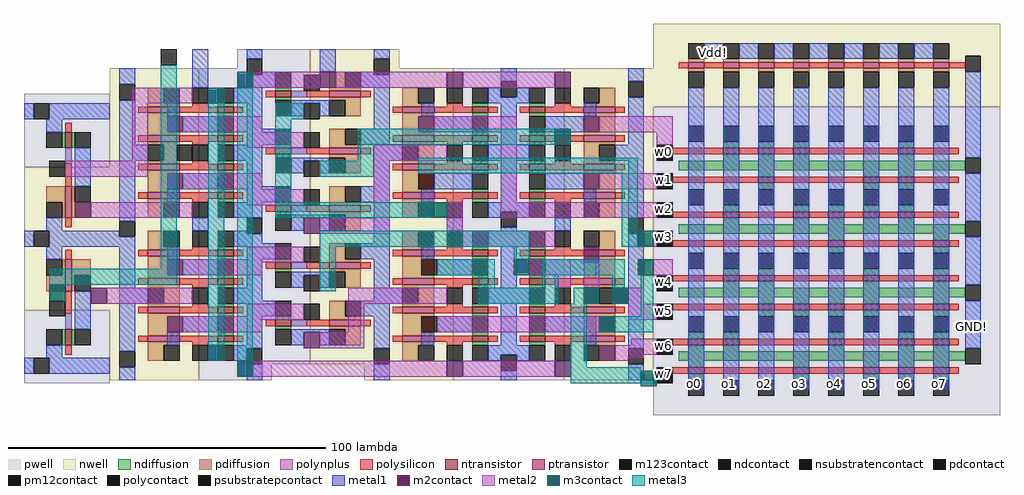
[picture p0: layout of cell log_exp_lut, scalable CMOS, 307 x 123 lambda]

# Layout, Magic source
magic
tech scmos
<< nwell >>
rect -18 76 91 102
<< pwell >>
rect -18 -21 91 76
<< ptransistor >>
rect -7 88 -2 90
rect 4 88 9 90
rect 15 88 20 90
rect 26 88 31 90
rect 37 88 42 90
rect 48 88 53 90
rect 59 88 64 90
rect 70 88 75 90
<< ndiffusion >>
rect 75 56 80 59
rect 75 36 80 39
rect 75 16 80 19
rect 75 -4 80 -1
<< pdiffusion >>
rect -7 90 -2 91
rect 4 90 9 91
rect 15 90 20 91
rect 26 90 31 91
rect 37 90 42 91
rect 48 90 53 91
rect 59 90 64 91
rect 70 90 75 91
rect -7 87 -2 88
rect 4 87 9 88
rect 15 87 20 88
rect 26 87 31 88
rect 37 87 42 88
rect 48 87 53 88
rect 59 87 64 88
rect 70 87 75 88
<< ndcontact >>
rect 80 55 85 60
rect 80 35 85 40
rect 80 15 85 20
rect 80 -5 85 0
<< pdcontact >>
rect -7 91 -2 96
rect 4 91 9 96
rect 15 91 20 96
rect 26 91 31 96
rect 37 91 42 96
rect 48 91 53 96
rect 59 91 64 96
rect 70 91 75 96
rect -7 82 -2 87
rect 4 82 9 87
rect 15 82 20 87
rect 26 82 31 87
rect 37 82 42 87
rect 48 82 53 87
rect 59 82 64 87
rect 70 82 75 87
<< polysilicon >>
rect -10 88 -7 90
rect -2 88 4 90
rect 9 88 15 90
rect 20 88 26 90
rect 31 88 37 90
rect 42 88 48 90
rect 53 88 59 90
rect 64 88 70 90
rect 75 88 80 90
rect -12 61 -10 63
rect -12 52 -10 54
rect -12 41 -10 43
rect -12 32 -10 34
rect -12 21 -10 23
rect -12 12 -10 14
rect -12 1 -10 3
rect -12 -8 -10 -6
<< polycontact >>
rect 80 87 85 92
rect -17 59 -12 64
rect -17 50 -12 55
rect -17 41 -12 46
rect -17 32 -12 37
rect -17 18 -12 23
rect -17 9 -12 14
rect -17 -2 -12 3
rect -17 -11 -12 -6
<< metal1 >>
rect -2 91 4 96
rect 9 91 15 96
rect 20 91 26 96
rect 31 91 37 96
rect 42 91 48 96
rect 53 91 59 96
rect 64 91 70 96
rect -7 -13 -2 82
rect 4 -13 9 82
rect 15 -13 20 82
rect 26 -13 31 82
rect 37 -13 42 82
rect 48 -13 53 82
rect 59 -13 64 82
rect 70 -13 75 82
rect 80 60 85 87
rect 80 40 85 55
rect 80 20 85 35
rect 80 0 85 15
use rom_0bit  rom_0bit_77_5
transform -1 0 2 0 -1 0
box 1 1 12 15
use rom_0bit  rom_0bit_77_0
transform -1 0 2 0 1 -5
box 1 1 12 15
use rom_0bit  rom_0bit_66_0
transform -1 0 13 0 1 -5
box 1 1 12 15
use rom_1bit  rom_1bit_55_0
transform -1 0 24 0 1 -5
box 1 1 12 15
use rom_1bit  rom_1bit_55_5
transform -1 0 24 0 -1 0
box 1 1 12 15
use rom_1bit  rom_1bit_66_5
transform -1 0 13 0 -1 0
box 1 1 12 15
use rom_0bit  rom_0bit_33_0
transform -1 0 46 0 1 -5
box 1 1 12 15
use rom_0bit  rom_0bit_44_5
transform -1 0 35 0 -1 0
box 1 1 12 15
use rom_1bit  rom_1bit_44_0
transform -1 0 35 0 1 -5
box 1 1 12 15
use rom_1bit  rom_1bit_33_5
transform -1 0 46 0 -1 0
box 1 1 12 15
use rom_0bit  rom_0bit_22_5
transform -1 0 57 0 -1 0
box 1 1 12 15
use rom_1bit  rom_1bit_22_0
transform -1 0 57 0 1 -5
box 1 1 12 15
use rom_0bit  rom_0bit_0_5
transform -1 0 79 0 -1 0
box 1 1 12 15
use rom_0bit  rom_0bit_11_5
transform -1 0 68 0 -1 0
box 1 1 12 15
use rom_0bit  rom_0bit_0_0
transform -1 0 79 0 1 -5
box 1 1 12 15
use rom_0bit  rom_0bit_11_0
transform -1 0 68 0 1 -5
box 1 1 12 15
use rom_1bit  rom_1bit_77_23
transform -1 0 2 0 -1 20
box 1 1 12 15
use rom_1bit  rom_1bit_77_18
transform -1 0 2 0 1 15
box 1 1 12 15
use rom_0bit  rom_0bit_55_18
transform -1 0 24 0 1 15
box 1 1 12 15
use rom_0bit  rom_0bit_66_18
transform -1 0 13 0 1 15
box 1 1 12 15
use rom_0bit  rom_0bit_55_23
transform -1 0 24 0 -1 20
box 1 1 12 15
use rom_1bit  rom_1bit_66_23
transform -1 0 13 0 -1 20
box 1 1 12 15
use rom_0bit  rom_0bit_44_23
transform -1 0 35 0 -1 20
box 1 1 12 15
use rom_0bit  rom_0bit_33_23
transform -1 0 46 0 -1 20
box 1 1 12 15
use rom_1bit  rom_1bit_44_18
transform -1 0 35 0 1 15
box 1 1 12 15
use rom_1bit  rom_1bit_33_18
transform -1 0 46 0 1 15
box 1 1 12 15
use rom_0bit  rom_0bit_22_18
transform -1 0 57 0 1 15
box 1 1 12 15
use rom_0bit  rom_0bit_22_23
transform -1 0 57 0 -1 20
box 1 1 12 15
use rom_0bit  rom_0bit_0_18
transform -1 0 79 0 1 15
box 1 1 12 15
use rom_0bit  rom_0bit_0_23
transform -1 0 79 0 -1 20
box 1 1 12 15
use rom_1bit  rom_1bit_11_18
transform -1 0 68 0 1 15
box 1 1 12 15
use rom_1bit  rom_1bit_11_23
transform -1 0 68 0 -1 20
box 1 1 12 15
use rom_1bit  rom_1bit_77_41
transform -1 0 2 0 -1 40
box 1 1 12 15
use rom_1bit  rom_1bit_77_36
transform -1 0 2 0 1 35
box 1 1 12 15
use rom_0bit  rom_0bit_66_36
transform -1 0 13 0 1 35
box 1 1 12 15
use rom_1bit  rom_1bit_55_36
transform -1 0 24 0 1 35
box 1 1 12 15
use rom_1bit  rom_1bit_55_41
transform -1 0 24 0 -1 40
box 1 1 12 15
use rom_1bit  rom_1bit_66_41
transform -1 0 13 0 -1 40
box 1 1 12 15
use rom_0bit  rom_0bit_44_36
transform -1 0 35 0 1 35
box 1 1 12 15
use rom_0bit  rom_0bit_33_36
transform -1 0 46 0 1 35
box 1 1 12 15
use rom_0bit  rom_0bit_33_41
transform -1 0 46 0 -1 40
box 1 1 12 15
use rom_1bit  rom_1bit_44_41
transform -1 0 35 0 -1 40
box 1 1 12 15
use rom_0bit  rom_0bit_22_36
transform -1 0 57 0 1 35
box 1 1 12 15
use rom_1bit  rom_1bit_22_41
transform -1 0 57 0 -1 40
box 1 1 12 15
use rom_0bit  rom_0bit_11_36
transform -1 0 68 0 1 35
box 1 1 12 15
use rom_0bit  rom_0bit_0_41
transform -1 0 79 0 -1 40
box 1 1 12 15
use rom_1bit  rom_1bit_0_36
transform -1 0 79 0 1 35
box 1 1 12 15
use rom_1bit  rom_1bit_11_41
transform -1 0 68 0 -1 40
box 1 1 12 15
use rom_1bit  rom_1bit_77_59
transform -1 0 2 0 -1 60
box 1 1 12 15
use rom_1bit  rom_1bit_77_54
transform -1 0 2 0 1 55
box 1 1 12 15
use rom_0bit  rom_0bit_55_54
transform -1 0 24 0 1 55
box 1 1 12 15
use rom_0bit  rom_0bit_66_54
transform -1 0 13 0 1 55
box 1 1 12 15
use rom_0bit  rom_0bit_55_59
transform -1 0 24 0 -1 60
box 1 1 12 15
use rom_1bit  rom_1bit_66_59
transform -1 0 13 0 -1 60
box 1 1 12 15
use rom_0bit  rom_0bit_44_54
transform -1 0 35 0 1 55
box 1 1 12 15
use rom_1bit  rom_1bit_33_54
transform -1 0 46 0 1 55
box 1 1 12 15
use rom_1bit  rom_1bit_44_59
transform -1 0 35 0 -1 60
box 1 1 12 15
use rom_1bit  rom_1bit_33_59
transform -1 0 46 0 -1 60
box 1 1 12 15
use rom_0bit  rom_0bit_22_59
transform -1 0 57 0 -1 60
box 1 1 12 15
use rom_1bit  rom_1bit_22_54
transform -1 0 57 0 1 55
box 1 1 12 15
use rom_0bit  rom_0bit_11_59
transform -1 0 68 0 -1 60
box 1 1 12 15
use rom_0bit  rom_0bit_11_54
transform -1 0 68 0 1 55
box 1 1 12 15
use rom_1bit  rom_1bit_0_59
transform -1 0 79 0 -1 60
box 1 1 12 15
use rom_1bit  rom_1bit_0_54
transform -1 0 79 0 1 55
box 1 1 12 15
use 3to8_decoder  3to8_decoder_0
transform 1 0 -113 0 1 37
box -103 -49 101 57
<< labels >>
rlabel polycontact -15 62 -15 62 1 w0
rlabel polycontact -15 53 -15 53 1 w1
rlabel polycontact -15 44 -15 44 1 w2
rlabel polycontact -15 35 -15 35 1 w3
rlabel polycontact -15 -8 -15 -8 1 w7
rlabel polycontact -15 1 -15 1 1 w6
rlabel polycontact -15 12 -15 12 1 w5
rlabel polycontact -15 21 -15 21 1 w4
flabel metal1 -5 -11 -5 -11 1 FreeSans 24 0 0 0 o0
flabel metal1 6 -11 6 -11 1 FreeSans 24 0 0 0 o1
flabel metal1 17 -11 17 -11 1 FreeSans 24 0 0 0 o2
flabel metal1 28 -11 28 -11 1 FreeSans 24 0 0 0 o3
flabel metal1 39 -11 39 -11 1 FreeSans 24 0 0 0 o4
flabel metal1 50 -11 50 -11 1 FreeSans 24 0 0 0 o5
flabel metal1 61 -11 61 -11 1 FreeSans 24 0 0 0 o6
flabel metal1 72 -11 72 -11 1 FreeSans 24 0 0 0 o7
flabel metal1 1 93 1 93 5 FreeSans 24 0 0 0 Vdd!
flabel metal1 82 7 82 7 1 FreeSans 24 0 0 0 GND!
<< end >>

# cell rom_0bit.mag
magic
tech scmos
<< ntransistor >>
rect 4 6 9 8
<< ndiffusion >>
rect 4 8 9 10
rect 4 4 9 6
rect 1 1 12 4
<< ndcontact >>
rect 4 10 9 15
<< polysilicon >>
rect 1 6 4 8
rect 9 6 12 8
<< metal1 >>
rect 4 1 9 10
<< labels >>
flabel space 2 5 3 6 3 FreeSans 24 0 0 0 0
<< end >>

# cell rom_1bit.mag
magic
tech scmos
<< ndiffusion >>
rect 1 1 12 4
<< ndcontact >>
rect 4 10 9 15
<< polysilicon >>
rect 1 6 12 8
<< metal1 >>
rect 4 1 9 10
<< labels >>
flabel space 2 5 3 6 3 FreeSans 24 0 0 0 1
<< end >>

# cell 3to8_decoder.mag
magic
tech scmos
<< nwell >>
rect -13 51 15 57
rect -76 20 -48 51
rect -103 -25 -48 20
rect -76 -47 -48 -25
rect -13 -42 32 51
rect 4 -47 32 -42
rect 67 -47 95 51
<< pwell >>
rect -36 51 -13 57
rect -103 20 -76 43
rect -103 -48 -76 -25
rect -48 -42 -13 51
rect -48 -47 -25 -42
rect 32 -47 67 51
<< ntransistor >>
rect -24 42 -19 44
rect -42 37 -37 39
rect -90 26 -88 31
rect 38 37 43 39
rect 56 37 61 39
rect -42 28 -37 30
rect 38 28 43 30
rect 56 28 61 30
rect -24 24 -19 26
rect -42 19 -37 21
rect 38 19 43 21
rect 56 19 61 21
rect -42 10 -37 12
rect 38 10 43 12
rect 56 10 61 12
rect -24 6 -19 8
rect -42 -8 -37 -6
rect 38 -8 43 -6
rect 56 -8 61 -6
rect -24 -12 -19 -10
rect -42 -17 -37 -15
rect 38 -17 43 -15
rect 56 -17 61 -15
rect -42 -26 -37 -24
rect -90 -36 -88 -31
rect 38 -26 43 -24
rect 56 -26 61 -24
rect -24 -30 -19 -28
rect -42 -35 -37 -33
rect 38 -35 43 -33
rect 56 -35 61 -33
<< ptransistor >>
rect -7 42 3 44
rect -64 37 -54 39
rect 16 37 26 39
rect 73 37 83 39
rect -64 28 -54 30
rect 16 28 26 30
rect 73 28 83 30
rect -7 24 3 26
rect -64 19 -54 21
rect -90 4 -88 14
rect 16 19 26 21
rect 73 19 83 21
rect -64 10 -54 12
rect 16 10 26 12
rect 73 10 83 12
rect -7 6 3 8
rect -64 -8 -54 -6
rect -90 -19 -88 -9
rect 16 -8 26 -6
rect 73 -8 83 -6
rect -7 -12 3 -10
rect -64 -17 -54 -15
rect 16 -17 26 -15
rect 73 -17 83 -15
rect -64 -26 -54 -24
rect 16 -26 26 -24
rect 73 -26 83 -24
rect -7 -30 3 -28
rect -64 -35 -54 -33
rect 16 -35 26 -33
rect 73 -35 83 -33
<< ndiffusion >>
rect -24 44 -19 45
rect -42 39 -37 40
rect -24 41 -19 42
rect -91 26 -90 31
rect -88 26 -87 31
rect -42 36 -37 37
rect 38 39 43 40
rect 56 39 61 40
rect -42 30 -37 31
rect -42 27 -37 28
rect -24 26 -19 27
rect 38 36 43 37
rect 38 30 43 31
rect 56 36 61 37
rect 56 30 61 31
rect -42 21 -37 22
rect -24 23 -19 24
rect -42 18 -37 19
rect 38 27 43 28
rect 38 21 43 22
rect 56 27 61 28
rect 56 21 61 22
rect -42 12 -37 13
rect -42 9 -37 10
rect -24 8 -19 9
rect 38 18 43 19
rect 38 12 43 13
rect 56 18 61 19
rect 56 12 61 13
rect -24 5 -19 6
rect 38 9 43 10
rect 56 9 61 10
rect -42 -6 -37 -5
rect -42 -9 -37 -8
rect -24 -10 -19 -9
rect 38 -6 43 -5
rect 56 -6 61 -5
rect -42 -15 -37 -14
rect -24 -13 -19 -12
rect -42 -18 -37 -17
rect 38 -9 43 -8
rect 38 -15 43 -14
rect 56 -9 61 -8
rect 56 -15 61 -14
rect -42 -24 -37 -23
rect -91 -36 -90 -31
rect -88 -36 -87 -31
rect -42 -27 -37 -26
rect -24 -28 -19 -27
rect 38 -18 43 -17
rect 38 -24 43 -23
rect 56 -18 61 -17
rect 56 -24 61 -23
rect -42 -33 -37 -32
rect -24 -31 -19 -30
rect -42 -36 -37 -35
rect 38 -27 43 -26
rect 38 -33 43 -32
rect 56 -27 61 -26
rect 56 -33 61 -32
rect 38 -36 43 -35
rect 56 -36 61 -35
<< pdiffusion >>
rect -64 40 -59 45
rect -64 39 -54 40
rect -7 45 -2 50
rect -7 44 3 45
rect -64 30 -54 37
rect -7 41 3 42
rect -2 36 3 41
rect 16 40 21 45
rect 16 39 26 40
rect 78 40 83 45
rect 73 39 83 40
rect -64 27 -54 28
rect -59 22 -54 27
rect -64 21 -54 22
rect -7 27 -2 32
rect 16 30 26 37
rect 73 30 83 37
rect -7 26 3 27
rect 16 27 26 28
rect -96 9 -90 14
rect -91 4 -90 9
rect -88 9 -87 14
rect -64 12 -54 19
rect -7 23 3 24
rect -2 18 3 23
rect 21 22 26 27
rect 16 21 26 22
rect 73 27 83 28
rect 73 22 78 27
rect 73 21 83 22
rect -88 4 -82 9
rect -64 9 -54 10
rect -64 4 -59 9
rect -7 9 -2 14
rect 16 12 26 19
rect 73 12 83 19
rect -7 8 3 9
rect 16 9 26 10
rect -64 -5 -59 0
rect -64 -6 -54 -5
rect -7 5 3 6
rect -2 0 3 5
rect 16 4 21 9
rect 73 9 83 10
rect 78 4 83 9
rect -91 -14 -90 -9
rect -96 -19 -90 -14
rect -88 -14 -82 -9
rect -88 -19 -87 -14
rect -64 -15 -54 -8
rect -7 -9 -2 -4
rect 16 -5 21 0
rect 16 -6 26 -5
rect 78 -5 83 0
rect 73 -6 83 -5
rect -7 -10 3 -9
rect -64 -18 -54 -17
rect -59 -23 -54 -18
rect -64 -24 -54 -23
rect -7 -13 3 -12
rect -2 -18 3 -13
rect 16 -15 26 -8
rect 73 -15 83 -8
rect 16 -18 26 -17
rect -64 -33 -54 -26
rect -7 -27 -2 -22
rect 21 -23 26 -18
rect 16 -24 26 -23
rect 73 -18 83 -17
rect 73 -23 78 -18
rect 73 -24 83 -23
rect -7 -28 3 -27
rect -64 -36 -54 -35
rect -64 -41 -59 -36
rect -7 -31 3 -30
rect -2 -36 3 -31
rect 16 -33 26 -26
rect 73 -33 83 -26
rect 16 -36 26 -35
rect 16 -41 21 -36
rect 73 -36 83 -35
rect 78 -41 83 -36
<< ndcontact >>
rect -24 45 -19 50
rect -42 40 -37 45
rect -96 26 -91 31
rect -87 26 -82 31
rect -24 36 -19 41
rect 38 40 43 45
rect 56 40 61 45
rect -42 31 -37 36
rect -42 22 -37 27
rect -24 27 -19 32
rect 38 31 43 36
rect 56 31 61 36
rect -24 18 -19 23
rect 38 22 43 27
rect 56 22 61 27
rect -42 13 -37 18
rect -42 4 -37 9
rect -24 9 -19 14
rect 38 13 43 18
rect 56 13 61 18
rect -42 -5 -37 0
rect -24 0 -19 5
rect 38 4 43 9
rect 56 4 61 9
rect -42 -14 -37 -9
rect -24 -9 -19 -4
rect 38 -5 43 0
rect 56 -5 61 0
rect -24 -18 -19 -13
rect 38 -14 43 -9
rect 56 -14 61 -9
rect -42 -23 -37 -18
rect -96 -36 -91 -31
rect -87 -36 -82 -31
rect -42 -32 -37 -27
rect -24 -27 -19 -22
rect 38 -23 43 -18
rect 56 -23 61 -18
rect -24 -36 -19 -31
rect 38 -32 43 -27
rect 56 -32 61 -27
rect -42 -41 -37 -36
rect 38 -41 43 -36
rect 56 -41 61 -36
<< pdcontact >>
rect -59 40 -54 45
rect -2 45 3 50
rect -7 36 -2 41
rect 21 40 26 45
rect 73 40 78 45
rect -64 22 -59 27
rect -2 27 3 32
rect -96 4 -91 9
rect -87 9 -82 14
rect -7 18 -2 23
rect 16 22 21 27
rect 78 22 83 27
rect -59 4 -54 9
rect -2 9 3 14
rect -59 -5 -54 0
rect -7 0 -2 5
rect 21 4 26 9
rect 73 4 78 9
rect -96 -14 -91 -9
rect -87 -19 -82 -14
rect -2 -9 3 -4
rect 21 -5 26 0
rect 73 -5 78 0
rect -64 -23 -59 -18
rect -7 -18 -2 -13
rect -2 -27 3 -22
rect 16 -23 21 -18
rect 78 -23 83 -18
rect -59 -41 -54 -36
rect -7 -36 -2 -31
rect 21 -41 26 -36
rect 73 -41 78 -36
<< psubstratepcontact >>
rect -33 49 -28 54
rect -100 35 -95 40
rect 47 42 52 47
rect -33 -1 -28 4
rect 47 1 52 6
rect -100 -45 -95 -40
rect -33 -42 -28 -37
rect 47 -44 52 -39
<< nsubstratencontact >>
rect -73 41 -68 46
rect 7 49 12 54
rect 87 42 92 47
rect -100 -5 -95 0
rect -73 -2 -68 3
rect 87 -1 92 4
rect -73 -43 -68 -38
rect 7 -42 12 -37
rect 87 -42 92 -37
<< polysilicon >>
rect -50 39 -45 40
rect -27 42 -24 44
rect -14 42 -7 44
rect 3 42 6 44
rect -67 37 -64 39
rect -54 37 -42 39
rect -37 37 -34 39
rect -90 31 -88 34
rect 30 39 35 40
rect 64 39 69 40
rect 13 37 16 39
rect 26 37 38 39
rect 43 37 46 39
rect 53 37 56 39
rect 61 37 73 39
rect 83 37 86 39
rect -67 28 -64 30
rect -54 28 -42 30
rect -37 28 -34 30
rect -50 27 -45 28
rect -50 21 -45 22
rect 13 28 16 30
rect 26 28 38 30
rect 43 28 46 30
rect 53 28 56 30
rect 61 28 73 30
rect 83 28 86 30
rect -27 24 -24 26
rect -14 24 -7 26
rect 3 24 6 26
rect -90 14 -88 21
rect -67 19 -64 21
rect -54 19 -42 21
rect -37 19 -34 21
rect 30 27 35 28
rect 30 21 35 22
rect 64 27 69 28
rect 64 21 69 22
rect 13 19 16 21
rect 26 19 38 21
rect 43 19 46 21
rect 53 19 56 21
rect 61 19 73 21
rect 83 19 86 21
rect -67 10 -64 12
rect -54 10 -42 12
rect -37 10 -34 12
rect -50 9 -45 10
rect 13 10 16 12
rect 26 10 38 12
rect 43 10 46 12
rect 53 10 56 12
rect 61 10 73 12
rect 83 10 86 12
rect -27 6 -24 8
rect -14 6 -7 8
rect 3 6 6 8
rect -90 1 -88 4
rect -50 -6 -45 -5
rect 30 9 35 10
rect 64 9 69 10
rect -90 -9 -88 -6
rect -67 -8 -64 -6
rect -54 -8 -42 -6
rect -37 -8 -34 -6
rect 30 -6 35 -5
rect 64 -6 69 -5
rect 13 -8 16 -6
rect 26 -8 38 -6
rect 43 -8 46 -6
rect 53 -8 56 -6
rect 61 -8 73 -6
rect 83 -8 86 -6
rect -27 -12 -24 -10
rect -14 -12 -7 -10
rect 3 -12 6 -10
rect -67 -17 -64 -15
rect -54 -17 -42 -15
rect -37 -17 -34 -15
rect -90 -26 -88 -19
rect -50 -18 -45 -17
rect -50 -24 -45 -23
rect 13 -17 16 -15
rect 26 -17 38 -15
rect 43 -17 46 -15
rect 53 -17 56 -15
rect 61 -17 73 -15
rect 83 -17 86 -15
rect -67 -26 -64 -24
rect -54 -26 -42 -24
rect -37 -26 -34 -24
rect 30 -18 35 -17
rect 30 -24 35 -23
rect 64 -18 69 -17
rect 64 -24 69 -23
rect 13 -26 16 -24
rect 26 -26 38 -24
rect 43 -26 46 -24
rect 53 -26 56 -24
rect 61 -26 73 -24
rect 83 -26 86 -24
rect -27 -30 -24 -28
rect -14 -30 -7 -28
rect 3 -30 6 -28
rect -67 -35 -64 -33
rect -54 -35 -42 -33
rect -37 -35 -34 -33
rect -90 -39 -88 -36
rect -50 -36 -45 -35
rect 13 -35 16 -33
rect 26 -35 38 -33
rect 43 -35 46 -33
rect 53 -35 56 -33
rect 61 -35 73 -33
rect 83 -35 86 -33
rect 30 -36 35 -35
rect 64 -36 69 -35
<< polycontact >>
rect -15 44 -10 49
rect 30 40 35 45
rect 64 40 69 45
rect -50 22 -45 27
rect -50 -5 -45 0
rect 30 4 35 9
rect 64 4 69 9
rect 30 -41 35 -36
rect 64 -41 69 -36
<< polynplus >>
rect -19 42 -14 44
rect -90 21 -88 26
rect -19 24 -14 26
rect -19 6 -14 8
rect -19 -12 -14 -10
rect -90 -31 -88 -26
rect -19 -30 -14 -28
<< metal1 >>
rect -73 46 -68 51
rect -50 45 -45 57
rect -33 54 -28 57
rect -10 50 -5 57
rect 7 54 12 57
rect -28 49 -24 50
rect -33 45 -24 49
rect -103 35 -100 40
rect -95 35 -76 40
rect -96 31 -91 35
rect -87 14 -82 26
rect -73 27 -68 41
rect -37 40 -28 45
rect 3 49 7 50
rect 3 45 12 49
rect 47 47 52 51
rect -58 36 -54 40
rect -53 31 -42 36
rect -33 32 -28 40
rect -19 40 -7 41
rect -19 36 -15 40
rect -10 36 -7 40
rect 7 32 12 45
rect 43 42 47 45
rect 87 47 92 51
rect 52 42 56 45
rect 43 40 56 42
rect 22 36 26 40
rect -33 27 -24 32
rect -73 22 -64 27
rect -37 22 -28 27
rect 3 27 12 32
rect 26 31 38 36
rect 47 27 52 40
rect 73 36 77 40
rect 61 31 73 36
rect 87 27 92 42
rect -96 0 -91 4
rect -73 3 -68 22
rect -53 13 -42 18
rect -33 14 -28 22
rect -19 22 -7 23
rect -19 18 -15 22
rect -10 18 -7 22
rect 7 22 16 27
rect 43 22 56 27
rect 83 22 92 27
rect 7 14 12 22
rect -58 9 -54 13
rect -33 9 -24 14
rect -37 4 -28 9
rect 3 9 12 14
rect 26 13 38 18
rect 22 9 26 13
rect 47 9 52 22
rect 61 13 73 18
rect 73 9 77 13
rect -103 -5 -100 0
rect -95 -2 -73 0
rect -50 0 -45 4
rect -95 -5 -68 -2
rect -37 -1 -33 0
rect -19 4 -7 5
rect -19 0 -15 4
rect -10 0 -7 4
rect -37 -4 -28 -1
rect 7 -4 12 9
rect 43 6 56 9
rect 43 4 47 6
rect 30 0 35 4
rect 52 4 56 6
rect 87 4 92 22
rect 47 0 52 1
rect 64 0 69 4
rect -37 -5 -24 -4
rect -96 -9 -91 -5
rect -73 -18 -68 -5
rect -58 -9 -54 -5
rect -33 -9 -24 -5
rect -53 -14 -42 -9
rect -33 -18 -28 -9
rect 3 -9 12 -4
rect 43 -5 56 0
rect -19 -14 -7 -13
rect -19 -18 -15 -14
rect -87 -31 -82 -19
rect -73 -23 -64 -18
rect -37 -22 -28 -18
rect -10 -18 -7 -14
rect 7 -18 12 -9
rect 22 -9 26 -5
rect 27 -14 38 -9
rect 47 -18 52 -5
rect 61 -10 73 -9
rect 61 -14 77 -10
rect 87 -18 92 -1
rect 7 -22 16 -18
rect -37 -23 -24 -22
rect -96 -40 -91 -36
rect -73 -38 -68 -23
rect -33 -27 -24 -23
rect -53 -32 -42 -27
rect -58 -36 -54 -32
rect -33 -36 -28 -27
rect 3 -23 16 -22
rect 43 -23 56 -18
rect 83 -23 92 -18
rect 3 -27 12 -23
rect -19 -32 -7 -31
rect -19 -36 -15 -32
rect -103 -45 -100 -40
rect -95 -45 -76 -40
rect -37 -37 -28 -36
rect -10 -36 -7 -32
rect 7 -37 12 -27
rect 27 -32 38 -27
rect 22 -36 26 -32
rect 47 -36 52 -23
rect 61 -32 77 -27
rect 73 -36 77 -32
rect -37 -41 -33 -37
rect -73 -47 -68 -43
rect -33 -47 -28 -42
rect 43 -39 56 -36
rect 43 -41 47 -39
rect 7 -47 12 -42
rect 52 -41 56 -39
rect 87 -37 92 -23
rect 47 -47 52 -44
rect 87 -47 92 -42
<< m2contact >>
rect -87 4 -82 9
rect -10 45 -5 50
rect 30 45 35 50
rect -58 31 -53 36
rect 64 45 69 50
rect 21 31 26 36
rect 73 31 78 36
rect -58 13 -53 18
rect 73 13 78 18
rect -15 -1 -10 4
rect -58 -14 -53 -9
rect -82 -23 -77 -18
rect 73 -10 78 -5
rect -58 -32 -53 -27
rect -15 -37 -10 -32
rect 30 -46 35 -41
rect 78 -41 83 -36
rect 64 -46 69 -41
<< pm12contact >>
rect -95 17 -90 22
rect -50 40 -45 45
rect -15 26 -10 31
rect 30 22 35 27
rect 64 22 69 27
rect 96 22 101 27
rect -50 4 -45 9
rect -15 8 -10 13
rect 96 13 101 18
rect 96 4 101 9
rect -15 -10 -10 -5
rect 30 -5 35 0
rect 64 -5 69 0
rect -95 -27 -90 -22
rect -50 -23 -45 -18
rect 96 -5 101 0
rect -15 -28 -10 -23
rect 30 -23 35 -18
rect 64 -23 69 -18
rect 96 -19 101 -14
rect -50 -41 -45 -36
rect 96 -28 101 -23
rect 96 -39 101 -34
rect 96 -48 101 -43
<< metal2 >>
rect -31 45 -10 50
rect -5 45 30 50
rect 35 45 64 50
rect -69 40 -50 45
rect -69 22 -64 40
rect -53 31 -28 36
rect 26 31 52 36
rect -33 26 -15 31
rect 7 22 30 27
rect -90 17 -64 22
rect -53 13 -28 18
rect -82 4 -50 9
rect -33 8 -15 13
rect 7 4 12 22
rect 47 9 52 31
rect 78 31 101 36
rect 96 27 101 31
rect 78 13 96 18
rect -10 -1 12 4
rect 30 0 35 9
rect 47 4 96 9
rect 35 -5 64 0
rect 95 -5 96 0
rect -33 -9 -15 -5
rect -53 -10 -15 -9
rect -53 -14 -28 -10
rect 56 -14 69 -9
rect -77 -23 -50 -18
rect 64 -18 69 -14
rect -1 -23 30 -18
rect 73 -18 78 -10
rect 95 -14 101 -9
rect 87 -23 92 -18
rect -33 -27 -15 -23
rect -53 -28 -15 -27
rect -53 -32 -28 -28
rect -1 -32 4 -23
rect 27 -32 78 -27
rect 87 -28 96 -23
rect -10 -37 4 -32
rect 88 -36 96 -34
rect 83 -39 96 -36
rect 83 -40 92 -39
rect 83 -41 87 -40
rect -31 -46 30 -41
rect 35 -46 64 -41
<< m3contact >>
rect -36 45 -31 50
rect -45 40 -40 45
rect 64 27 69 32
rect 25 4 30 9
rect 90 -5 95 0
rect 51 -14 56 -9
rect -95 -22 -90 -17
rect 90 -14 95 -9
rect 73 -23 78 -18
rect 82 -23 87 -18
rect 78 -32 83 -27
rect -45 -41 -40 -36
rect -36 -46 -31 -41
rect 91 -49 96 -44
<< m123contact >>
rect -60 52 -55 57
rect -15 35 -10 40
rect -55 22 -50 27
rect -15 17 -10 22
rect 21 13 26 18
rect 22 -14 27 -9
rect -15 -19 -10 -14
rect 22 -32 27 -27
<< metal3 >>
rect -60 -12 -55 52
rect -95 -17 -55 -12
rect -45 -36 -40 40
rect -36 -41 -31 45
rect -24 35 -15 40
rect -24 9 -19 35
rect 2 27 64 32
rect 2 22 7 27
rect -10 17 7 22
rect 21 18 90 23
rect -24 4 25 9
rect -10 -5 56 0
rect 85 -5 90 18
rect -10 -19 -5 -5
rect 51 -9 56 -5
rect 27 -14 45 -9
rect 60 -14 86 -9
rect 40 -18 45 -14
rect 60 -18 65 -14
rect 82 -18 86 -14
rect 40 -23 65 -18
rect 70 -23 73 -18
rect 69 -43 74 -23
rect 91 -27 95 -14
rect 83 -32 95 -27
rect 69 -48 91 -43
<< labels >>
flabel pm12contact -48 43 -48 43 1 FreeSans 24 0 0 0 y
flabel pm12contact -49 -39 -49 -39 1 FreeSans 24 0 0 0 y
flabel metal2 -13 47 -13 47 1 FreeSans 24 0 0 0 Z
flabel m123contact -58 54 -58 54 5 FreeSans 24 0 0 0 x
flabel pm12contact 97 8 97 8 5 FreeSans 16 0 0 0 w2
rlabel pm12contact -47 42 -47 42 7 B
rlabel polycontact -13 47 -13 47 3 in
rlabel psubstratepcontact -32 51 -32 51 3 GND!
rlabel nsubstratencontact 10 52 10 52 7 Vdd!
rlabel psubstratepcontact -97 -44 -97 -44 1 GND!
rlabel psubstratepcontact -97 39 -97 39 5 GND!
rlabel nwell -71 29 -71 29 3 Vdd!
rlabel psubstratepcontact 48 -39 48 -39 1 GND!
rlabel nwell 90 29 90 29 7 Vdd!
rlabel pm12contact -47 -38 -47 -38 7 B
flabel pm12contact -94 19 -94 20 1 FreeSans 24 0 0 0 y
flabel pm12contact 97 24 97 24 1 FreeSans 16 0 0 0 w0
flabel pm12contact 97 17 97 17 5 FreeSans 16 0 0 0 w1
flabel pm12contact 97 -35 97 -35 5 FreeSans 16 0 0 0 w6
flabel pm12contact 97 -24 97 -24 5 FreeSans 16 0 0 0 w5
flabel pm12contact 97 -15 97 -15 5 FreeSans 16 0 0 0 w4
flabel pm12contact 97 -1 97 -1 5 FreeSans 16 0 0 0 w3
flabel pm12contact 97 -44 97 -44 5 FreeSans 16 0 0 0 w7
<< end >>
